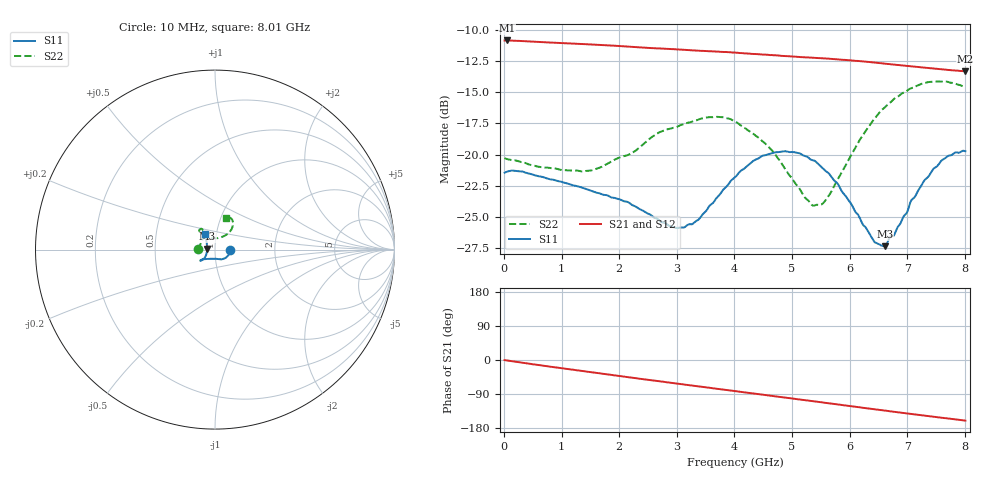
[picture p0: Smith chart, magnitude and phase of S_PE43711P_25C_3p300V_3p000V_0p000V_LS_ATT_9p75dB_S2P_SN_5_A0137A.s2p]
! Device ID: PE43711P
! File Path: z:\PE43711P\CHAR_NOM_04282014\AMB\3p300\LS_ATT_9p75dB\PE43711P_AMB_3p300V_3p000V_0p000V_LS_ATT_9p75dB_S2P_SN_5_A0137A.s2p
! Serial: 5
! Lot: A0137A
! Temp: 25C
! VDD: 3.300
! VSS: 0.000
! Control_Hi: 3.000
! Control_Lo: 0.000
! Attenuation Step: 9.75dB
! Port 1: RF1
! Port 2: RF2
! ThroughPath:1-2
! IDD: 0.0001276766
! ISS: -1.669e-007
#  Hz  S  RI  R  50
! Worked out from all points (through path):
!   801 points, 10 MHz to 8.01 GHz, reference 50 ohm
!   highest |S21| = -10.87 dB at 50 MHz (marker M1); lowest = -13.3 dB at 8.01 GHz (marker M2)
!   group delay of S21, straight-line fit = 55.2 ps
!   lowest |S11| = -27.3 dB at 6.61 GHz (marker M3), VSWR 1.09, Z = 45.9 + j0.523 ohm
!   |S11| at or under -10 dB: start of sweep to end of sweep
!   |S22| runs from -24.1 to -14.2 dB; largest |S21 - S12| = 0.0005
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1e7  0.0848 -0.000228  0.2859 -0.00146  0.2862 -0.00148  -0.0969 0.000781
5e7  0.0854 -0.00185  0.2859 -0.00594  0.2861 -0.00591  -0.0961 0.00249
1.35e9  0.0564 -0.0477  0.2423 -0.1338  0.2425 -0.134  -0.0769 0.0378
2.19e9  0.0336 -0.0542  0.1871 -0.1946  0.1874 -0.1947  -0.0639 0.0778
2.68e9  0.0168 -0.0524  0.1494 -0.2198  0.1495 -0.2199  -0.0646 0.1038
2.99e9  0.00161 -0.0509  0.1239 -0.2327  0.124 -0.2328  -0.068 0.1093
3.28e9  -0.0148 -0.0509  0.0989 -0.2415  0.0991 -0.2417  -0.0727 0.115
3.69e9  -0.0422 -0.0522  0.0635 -0.2502  0.0634 -0.2502  -0.0834 0.1145
4.01e9  -0.0612 -0.0534  0.0348 -0.2532  0.0346 -0.2534  -0.0877 0.1036
4.34e9  -0.0762 -0.0565  0.00582 -0.2525  0.00579 -0.2527  -0.0793 0.0908
4.69e9  -0.0821 -0.0603  -0.0241 -0.2483  -0.0243 -0.2483  -0.0644 0.0782
5.07e9  -0.0806 -0.0624  -0.0553 -0.2399  -0.0554 -0.24  -0.036 0.0671
5.35e9  -0.0746 -0.059  -0.0772 -0.2315  -0.0773 -0.2317  -0.00985 0.0621
5.59e9  -0.0668 -0.0539  -0.0955 -0.2226  -0.0953 -0.2226  0.0161 0.0641
5.79e9  -0.0597 -0.048  -0.11 -0.2137  -0.1101 -0.2137  0.0368 0.0702
6.42e9  -0.0442 -0.00922  -0.1496 -0.1794  -0.1497 -0.1795  0.0882 0.1064
6.61e9  -0.0427 0.00569  -0.1591 -0.1676  -0.1591 -0.1679  0.0951 0.1217
6.68e9  -0.0441 0.0126  -0.1624 -0.1633  -0.1624 -0.1635  0.0972 0.1275
7.05e9  -0.0474 0.043  -0.1777 -0.1389  -0.1776 -0.1391  0.0995 0.1541
7.45e9  -0.0531 0.0695  -0.1904 -0.112  -0.1905 -0.112  0.0867 0.1754
7.7e9  -0.0559 0.081  -0.1964 -0.095  -0.1963 -0.0948  0.0738 0.1811
8.01e9  -0.0535 0.0882  -0.2022 -0.0739  -0.2024 -0.0734  0.0605 0.1753
